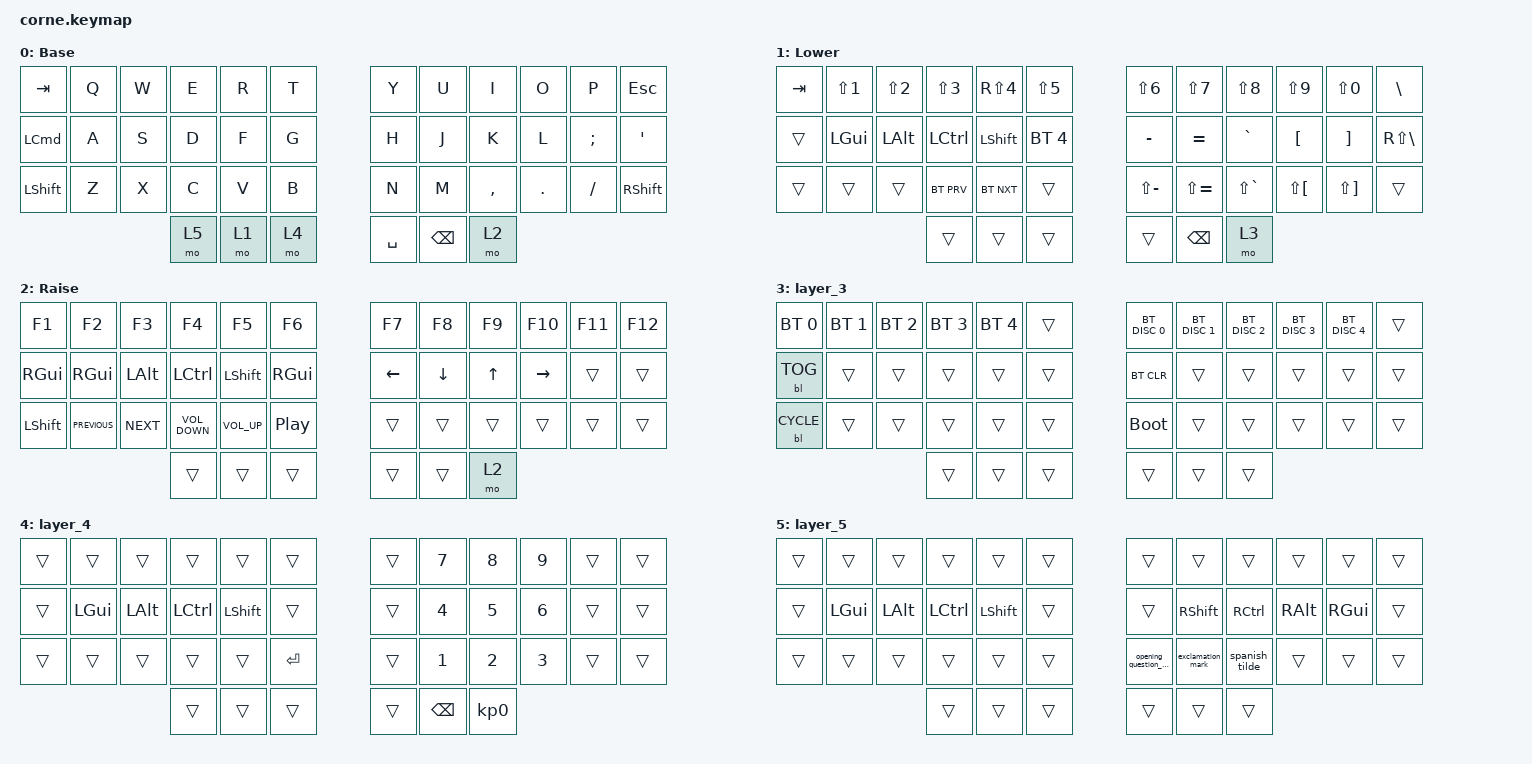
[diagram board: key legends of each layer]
/*
 * Copyright (c) 2020 The ZMK Contributors
 *
 * SPDX-License-Identifier: MIT
 */

#include <behaviors.dtsi>
#include <dt-bindings/zmk/backlight.h>
#include <dt-bindings/zmk/bt.h>
#include <dt-bindings/zmk/keys.h>

/ {
    combos {
        compatible = "zmk,combos";

        right-hand-jkl-right-gui {
            bindings = <&kp RIGHT_GUI>;
            key-positions = <19 20 21>;
            timeout-ms = <38>;
            layers = <0>;
        };

        both-shifts-caps-lock {
            bindings = <&kp CAPS>;
            key-positions = <24 35>;
            layers = <0>;
            timeout-ms = <30>;
        };
    };

    macros {
        spanish_tilde: spanish_tilde {
            compatible = "zmk,behavior-macro";
            #binding-cells = <0>;
            bindings =
                <&macro_press>,
                <&kp RIGHT_ALT>,
                <&macro_tap>,
                <&kp E>,
                <&macro_release>,
                <&kp RIGHT_ALT>;

            label = "SPANISH_TILDE";
        };

        exclamation_mark: exclamation_mark {
            compatible = "zmk,behavior-macro";
            #binding-cells = <0>;
            bindings =
                <&macro_press>,
                <&kp RIGHT_ALT>,
                <&macro_tap>,
                <&kp NUMBER_1>,
                <&macro_release>,
                <&kp RIGHT_ALT>;

            label = "EXCLAMATION_MARK";
        };

        opening_question_mark: opening_question_mark {
            compatible = "zmk,behavior-macro";
            #binding-cells = <0>;
            bindings =
                <&macro_press>,
                <&kp LEFT_ALT &kp LEFT_SHIFT>,
                <&macro_tap>,
                <&kp SLASH>,
                <&macro_release>,
                <&kp LEFT_ALT &kp LEFT_SHIFT>;

            label = "OPENING_QUESTION_MARK";
        };
    };

    keymap {
        compatible = "zmk,keymap";

        default_layer {
            // -----------------------------------------------------------------------------------------
            // |  TAB |  Q  |  W  |  E  |  R  |  T  |   |  Y  |  U   |  I  |  O  |  P  | BKSP |
            // | CTRL |  A  |  S  |  D  |  F  |  G  |   |  H  |  J   |  K  |  L  |  ;  |  '   |
            // | SHFT |  Z  |  X  |  C  |  V  |  B  |   |  N  |  M   |  ,  |  .  |  /  | ESC  |
            //                    | GUI | LWR | SPC |   | ENT | RSE  | ALT |

            display-name = "Base";
            bindings = <
&kp TAB           &kp Q  &kp W  &kp E  &kp R  &kp T    &kp Y      &kp U          &kp I      &kp O    &kp P     &kp ESCAPE
&kp LEFT_COMMAND  &kp A  &kp S  &kp D  &kp F  &kp G    &kp H      &kp J          &kp K      &kp L    &kp SEMI  &kp SQT
&kp LSHFT         &kp Z  &kp X  &kp C  &kp V  &kp B    &kp N      &kp M          &kp COMMA  &kp DOT  &kp FSLH  &kp RIGHT_SHIFT
                                &mo 5  &mo 1  &mo 4    &kp SPACE  &kp BACKSPACE  &mo 2
            >;
        };

        lower_layer {
            // -----------------------------------------------------------------------------------------
            // |  TAB |  1  |  2  |  3  |  4  |  5  |   |  6  |  7  |  8  |  9  |  0  | BKSP |
            // | BTCLR| BT1 | BT2 | BT3 | BT4 | BT5 |   | LFT | DWN |  UP | RGT |     |      |
            // | SHFT |     |     |     |     |     |   |     |     |     |     |     |      |
            //                    | GUI |     | SPC |   | ENT |     | ALT |

            display-name = "Lower";
            bindings = <
&kp TAB  &kp LS(NUMBER_1)  &kp LS(NUMBER_2)  &kp LS(NUMBER_3)  &kp RS(NUMBER_4)  &kp LS(N5)      &kp LS(NUMBER_6)  &kp LS(N7)     &kp LS(NUMBER_8)  &kp LS(NUMBER_9)      &kp LS(NUMBER_0)       &kp BACKSLASH
&trans   &kp LEFT_GUI      &kp LEFT_ALT      &kp LEFT_CONTROL  &kp LEFT_SHIFT    &bt BT_SEL 4    &kp MINUS         &kp EQUAL      &kp GRAVE         &kp LEFT_BRACKET      &kp RIGHT_BRACKET      &kp RS(BACKSLASH)
&trans   &trans            &trans            &bt BT_PRV        &bt BT_NXT        &trans          &kp LS(MINUS)     &kp LS(EQUAL)  &kp LS(GRAVE)     &kp LS(LEFT_BRACKET)  &kp LS(RIGHT_BRACKET)  &trans
                                             &trans            &trans            &trans          &trans            &kp BACKSPACE  &mo 3
            >;
        };

        raise_layer {
            // -----------------------------------------------------------------------------------------
            // |  TAB |  !  |  @  |  #  |  $  |  %  |   |  ^  |  &  |  *  |  (  |  )  | BKSP |
            // | CTRL |     |     |     |     |     |   |  -  |  =  |  [  |  ]  |  \  |  `   |
            // | SHFT |     |     |     |     |     |   |  _  |  +  |  {  |  }  | "|" |  ~   |
            //                    | GUI |     | SPC |   | ENT |     | ALT |

            display-name = "Raise";
            bindings = <
&kp F1     &kp F2          &kp F3      &kp F4             &kp F5           &kp F6              &kp F7          &kp F8          &kp F9        &kp F10          &kp F11  &kp F12
&kp RGUI   &kp RGUI        &kp LALT    &kp LCTRL          &kp LSHFT        &kp RGUI            &kp LEFT_ARROW  &kp DOWN_ARROW  &kp UP_ARROW  &kp RIGHT_ARROW  &trans   &trans
&kp LSHFT  &kp C_PREVIOUS  &kp C_NEXT  &kp C_VOLUME_DOWN  &kp C_VOLUME_UP  &kp C_PLAY_PAUSE    &trans          &trans          &trans        &trans           &trans   &trans
                                       &trans             &trans           &trans              &trans          &trans          &mo 2
            >;
        };

        layer_3 {
            bindings = <
&bt BT_SEL 0  &bt BT_SEL 1  &bt BT_SEL 2  &bt BT_SEL 3  &bt BT_SEL 4  &trans    &bt BT_DISC 0  &bt BT_DISC 1  &bt BT_DISC 2  &bt BT_DISC 3  &bt BT_DISC 4  &trans
&bl BL_TOG    &trans        &trans        &trans        &trans        &trans    &bt BT_CLR     &trans         &trans         &trans         &trans         &trans
&bl BL_CYCLE  &trans        &trans        &trans        &trans        &trans    &bootloader    &trans         &trans         &trans         &trans         &trans
                                          &trans        &trans        &trans    &trans         &trans         &trans
            >;
        };

        layer_4 {
            bindings = <
&trans  &trans    &trans    &trans     &trans     &trans       &trans  &kp N7         &kp N8           &kp N9  &trans  &trans
&trans  &kp LGUI  &kp LALT  &kp LCTRL  &kp LSHFT  &trans       &trans  &kp N4         &kp N5           &kp N6  &trans  &trans
&trans  &trans    &trans    &trans     &trans     &kp ENTER    &trans  &kp N1         &kp N2           &kp N3  &trans  &trans
                            &trans     &trans     &trans       &trans  &kp BACKSPACE  &kp KP_NUMBER_0
            >;
        };

        layer_5 {
            bindings = <
&trans  &trans        &trans        &trans            &trans          &trans    &trans                  &trans             &trans             &trans         &trans         &trans
&trans  &kp LEFT_GUI  &kp LEFT_ALT  &kp LEFT_CONTROL  &kp LEFT_SHIFT  &trans    &trans                  &kp RIGHT_SHIFT    &kp RIGHT_CONTROL  &kp RIGHT_ALT  &kp RIGHT_GUI  &trans
&trans  &trans        &trans        &trans            &trans          &trans    &opening_question_mark  &exclamation_mark  &spanish_tilde     &trans         &trans         &trans
                                    &trans            &trans          &trans    &trans                  &trans             &trans
            >;
        };
    };
};
